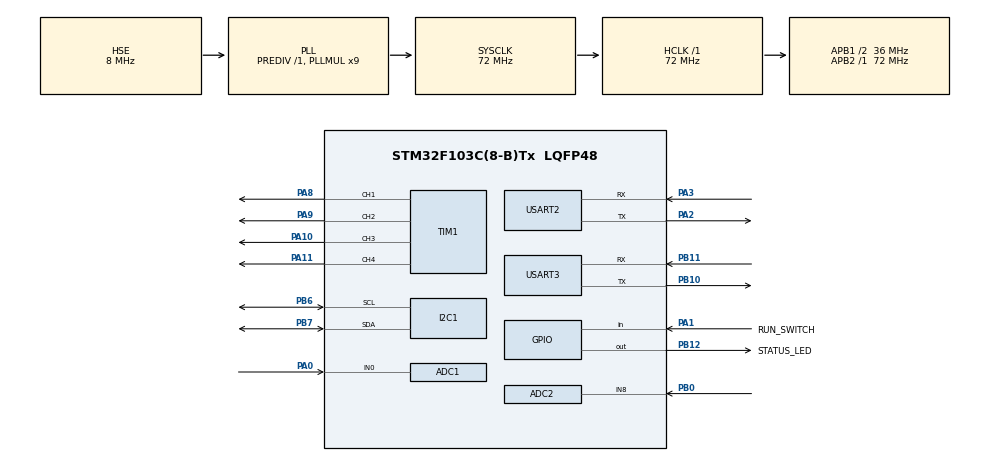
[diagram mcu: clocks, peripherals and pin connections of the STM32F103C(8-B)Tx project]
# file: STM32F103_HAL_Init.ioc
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ADC1.Channel-1\#ChannelRegularConversion=ADC_CHANNEL_0
ADC1.NbrOfConversionFlag=1
ADC1.Rank-1\#ChannelRegularConversion=1
ADC1.SamplingTime-1\#ChannelRegularConversion=ADC_SAMPLETIME_1CYCLE_5
ADC2.Channel-1\#ChannelRegularConversion=ADC_CHANNEL_8
ADC2.NbrOfConversionFlag=1
ADC2.Rank-1\#ChannelRegularConversion=1
ADC2.SamplingTime-1\#ChannelRegularConversion=ADC_SAMPLETIME_1CYCLE_5
Mcu.Family=STM32F1
Mcu.Name=STM32F103C(8-B)Tx
Mcu.Package=LQFP48
NVIC.PriorityGroup=NVIC_PRIORITYGROUP_4
PA0-WKUP.Signal=ADCx_IN0
PA1.GPIO_Label=RUN_SWITCH
PA1.GPIO_PuPd=GPIO_PULLUP
PA1.Signal=GPIO_Input
PA10.Signal=S_TIM1_CH3
PA11.Signal=S_TIM1_CH4
PA13.Mode=Serial_Wire
PA13.Signal=SYS_JTMS-SWDIO
PA14.Mode=Serial_Wire
PA14.Signal=SYS_JTCK-SWCLK
PA2.Mode=Asynchronous
PA2.Signal=USART2_TX
PA3.Mode=Asynchronous
PA3.Signal=USART2_RX
PA8.Signal=S_TIM1_CH1
PA9.Signal=S_TIM1_CH2
PB0.Signal=ADCx_IN8
PB10.Mode=Asynchronous
PB10.Signal=USART3_TX
PB11.Mode=Asynchronous
PB11.Signal=USART3_RX
PB12.GPIO_Label=STATUS_LED
PB12.Signal=GPIO_Output
PB6.Mode=I2C
PB6.Signal=I2C1_SCL
PB7.Mode=I2C
PB7.Signal=I2C1_SDA
PD0-OSC_IN.Mode=HSE-External-Oscillator
PD0-OSC_IN.Signal=RCC_OSC_IN
PD1-OSC_OUT.Mode=HSE-External-Oscillator
PD1-OSC_OUT.Signal=RCC_OSC_OUT
ProjectManager.HeapSize=0x200
ProjectManager.StackSize=0x400
ProjectManager.TargetToolchain=EWARM V8.32
RCC.ADCPresc=RCC_ADCPCLK2_DIV6
RCC.AHBFreq_Value=72000000
RCC.APB1CLKDivider=RCC_HCLK_DIV2
RCC.APB1Freq_Value=36000000
RCC.APB1TimFreq_Value=72000000
RCC.APB2Freq_Value=72000000
RCC.APB2TimFreq_Value=72000000
RCC.HCLKFreq_Value=72000000
RCC.PLLMUL=RCC_PLL_MUL9
RCC.PLLSourceVirtual=RCC_PLLSOURCE_HSE
RCC.SYSCLKFreq_VALUE=72000000
RCC.SYSCLKSource=RCC_SYSCLKSOURCE_PLLCLK
RCC.USBFreq_Value=72000000
SH.ADCx_IN0.0=ADC1_IN0,IN0
SH.ADCx_IN8.0=ADC2_IN8,IN8
SH.S_TIM1_CH1.0=TIM1_CH1,PWM Generation1 CH1
SH.S_TIM1_CH2.0=TIM1_CH2,Output Compare2 CH2
SH.S_TIM1_CH3.0=TIM1_CH3,Output Compare3 CH3
SH.S_TIM1_CH4.0=TIM1_CH4,Output Compare4 CH4
TIM1.Channel-Output\ Compare2\ CH2=TIM_CHANNEL_2
TIM1.Channel-Output\ Compare3\ CH3=TIM_CHANNEL_3
TIM1.Channel-Output\ Compare4\ CH4=TIM_CHANNEL_4
TIM1.Channel-PWM\ Generation1\ CH1=TIM_CHANNEL_1
USART2.VirtualMode=VM_ASYNC
USART3.VirtualMode=VM_ASYNC
board=custom

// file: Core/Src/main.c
/* USER CODE BEGIN Header */
/**
  ******************************************************************************
  * @file           : main.c
  * @brief          : Main program body
  ******************************************************************************
  * @attention
  *
  * Copyright (c) 2026 STMicroelectronics.
  * All rights reserved.
  *
  * This software is licensed under terms that can be found in the LICENSE file
  * in the root directory of this software component.
  * If no LICENSE file comes with this software, it is provided AS-IS.
  *
  ******************************************************************************
  */
/* USER CODE END Header */
#include "main.h"
#include "adc.h"
#include "i2c.h"
#include "tim.h"
#include "usart.h"
#include "gpio.h"

/* USER CODE BEGIN Includes */
#include "alicesim_ssd1306.h"

/* USER CODE END Includes */

/* USER CODE BEGIN PV */
AliceSIM_SSD1306 oled;
uint32_t adc1_raw = 0U;
uint32_t adc2_raw = 0U;
uint32_t adc1_mv10 = 0U;
uint32_t adc2_mv10 = 0U;
uint32_t uart_status = 1U;
uint32_t run_switch_state = GPIO_PIN_SET;
char oled_line_pa0[14U] = "PA0 0000.0 mV";
char oled_line_pb0[14U] = "PB0 0000.0 mV";
uint8_t uart_report[28U] = "PA0=0000.0mV PB0=0000.0mV\r\n";

/* USER CODE END PV */

void SystemClock_Config(void);

int main(void)
{

  /* MCU Configuration--------------------------------------------------------*/

  /* Reset of all peripherals, Initializes the Flash interface and the Systick. */
  HAL_Init();

  /* Configure the system clock */
  SystemClock_Config();

  /* Initialize all configured peripherals */
  MX_GPIO_Init();
  MX_ADC1_Init();
  MX_ADC2_Init();
  MX_I2C1_Init();
  MX_TIM1_Init();
  MX_USART2_UART_Init();
  MX_USART3_UART_Init();
  /* USER CODE BEGIN 2 */
  uart_status = AliceSIM_SSD1306_Init(
    &oled,
    &hi2c1,
    ALICESIM_SSD1306_DEFAULT_ADDRESS,
    100U
  );
  if (uart_status != HAL_OK)
  {
    Error_Handler();
  }

  /* USER CODE END 2 */

  /* Infinite loop */
  while (1)
  {

    /* USER CODE BEGIN 3 */
    run_switch_state = HAL_GPIO_ReadPin(RUN_SWITCH_GPIO_Port, RUN_SWITCH_Pin);
    if (run_switch_state == GPIO_PIN_RESET)
    {
      /* PB12 high sources the green branch and switches the red branch off. */
      HAL_GPIO_WritePin(STATUS_LED_GPIO_Port, STATUS_LED_Pin, GPIO_PIN_SET);

      HAL_ADC_Start(&hadc1);
      HAL_ADC_PollForConversion(&hadc1, 2U);
      adc1_raw = HAL_ADC_GetValue(&hadc1);

      HAL_ADC_Start(&hadc2);
      HAL_ADC_PollForConversion(&hadc2, 2U);
      adc2_raw = HAL_ADC_GetValue(&hadc2);

      /* Values are stored in tenths of a millivolt for one decimal place. */
      adc1_mv10 = ((adc1_raw * 33000U) + 2047U) / 4095U;
      adc2_mv10 = ((adc2_raw * 33000U) + 2047U) / 4095U;

      oled_line_pa0[4U] = '0' + ((adc1_mv10 / 10000U) % 10U);
      oled_line_pa0[5U] = '0' + ((adc1_mv10 / 1000U) % 10U);
      oled_line_pa0[6U] = '0' + ((adc1_mv10 / 100U) % 10U);
      oled_line_pa0[7U] = '0' + ((adc1_mv10 / 10U) % 10U);
      oled_line_pa0[9U] = '0' + (adc1_mv10 % 10U);

      oled_line_pb0[4U] = '0' + ((adc2_mv10 / 10000U) % 10U);
      oled_line_pb0[5U] = '0' + ((adc2_mv10 / 1000U) % 10U);
      oled_line_pb0[6U] = '0' + ((adc2_mv10 / 100U) % 10U);
      oled_line_pb0[7U] = '0' + ((adc2_mv10 / 10U) % 10U);
      oled_line_pb0[9U] = '0' + (adc2_mv10 % 10U);

      uart_report[4U] = '0' + ((adc1_mv10 / 10000U) % 10U);
      uart_report[5U] = '0' + ((adc1_mv10 / 1000U) % 10U);
      uart_report[6U] = '0' + ((adc1_mv10 / 100U) % 10U);
      uart_report[7U] = '0' + ((adc1_mv10 / 10U) % 10U);
      uart_report[9U] = '0' + (adc1_mv10 % 10U);
      uart_report[17U] = '0' + ((adc2_mv10 / 10000U) % 10U);
      uart_report[18U] = '0' + ((adc2_mv10 / 1000U) % 10U);
      uart_report[19U] = '0' + ((adc2_mv10 / 100U) % 10U);
      uart_report[20U] = '0' + ((adc2_mv10 / 10U) % 10U);
      uart_report[22U] = '0' + (adc2_mv10 % 10U);

      HAL_UART_Transmit(&huart2, uart_report, 27U, 10U);

      AliceSIM_SSD1306_Clear(&oled);
      AliceSIM_SSD1306_DrawString(&oled, 0U, 0U, "DUAL ADC INPUT", 1U, ALICESIM_SSD1306_COLOR_WHITE);
      AliceSIM_SSD1306_DrawString(&oled, 0U, 16U, oled_line_pa0, 1U, ALICESIM_SSD1306_COLOR_WHITE);
      AliceSIM_SSD1306_DrawString(&oled, 0U, 32U, oled_line_pb0, 1U, ALICESIM_SSD1306_COLOR_WHITE);
      AliceSIM_SSD1306_DrawString(&oled, 0U, 48U, "UART2 115200", 1U, ALICESIM_SSD1306_COLOR_WHITE);
      AliceSIM_SSD1306_Update(&oled);
    }
    else
    {
      /* PB12 low sinks the red branch and switches the green branch off. */
      HAL_GPIO_WritePin(STATUS_LED_GPIO_Port, STATUS_LED_Pin, GPIO_PIN_RESET);
      AliceSIM_SSD1306_Clear(&oled);
      AliceSIM_SSD1306_DrawString(&oled, 49U, 24U, "READY", 1U, ALICESIM_SSD1306_COLOR_WHITE);
      AliceSIM_SSD1306_Update(&oled);
    }

    HAL_Delay(100U);
  }
  /* USER CODE END 3 */
}

void SystemClock_Config(void)
{
  RCC_OscInitTypeDef RCC_OscInitStruct = {0};
  RCC_ClkInitTypeDef RCC_ClkInitStruct = {0};
  RCC_PeriphCLKInitTypeDef PeriphClkInit = {0};

  /** Initializes the RCC Oscillators according to the specified parameters
  * in the RCC_OscInitTypeDef structure.
  */
  RCC_OscInitStruct.OscillatorType = RCC_OSCILLATORTYPE_HSE;
  RCC_OscInitStruct.HSEState = RCC_HSE_ON;
  RCC_OscInitStruct.HSEPredivValue = RCC_HSE_PREDIV_DIV1;
  RCC_OscInitStruct.HSIState = RCC_HSI_ON;
  RCC_OscInitStruct.PLL.PLLState = RCC_PLL_ON;
  RCC_OscInitStruct.PLL.PLLSource = RCC_PLLSOURCE_HSE;
  RCC_OscInitStruct.PLL.PLLMUL = RCC_PLL_MUL9;
  if (HAL_RCC_OscConfig(&RCC_OscInitStruct) != HAL_OK)
  {
    Error_Handler();
  }

  /** Initializes the CPU, AHB and APB buses clocks
  */
  RCC_ClkInitStruct.ClockType = RCC_CLOCKTYPE_HCLK|RCC_CLOCKTYPE_SYSCLK
                              |RCC_CLOCKTYPE_PCLK1|RCC_CLOCKTYPE_PCLK2;
  RCC_ClkInitStruct.SYSCLKSource = RCC_SYSCLKSOURCE_PLLCLK;
  RCC_ClkInitStruct.AHBCLKDivider = RCC_SYSCLK_DIV1;
  RCC_ClkInitStruct.APB1CLKDivider = RCC_HCLK_DIV2;
  RCC_ClkInitStruct.APB2CLKDivider = RCC_HCLK_DIV1;

  if (HAL_RCC_ClockConfig(&RCC_ClkInitStruct, FLASH_LATENCY_2) != HAL_OK)
  {
    Error_Handler();
  }
  PeriphClkInit.PeriphClockSelection = RCC_PERIPHCLK_ADC;
  PeriphClkInit.AdcClockSelection = RCC_ADCPCLK2_DIV6;
  if (HAL_RCCEx_PeriphCLKConfig(&PeriphClkInit) != HAL_OK)
  {
    Error_Handler();
  }
}

void Error_Handler(void)
{
  __disable_irq();
  while (1)
  {
  }
}
